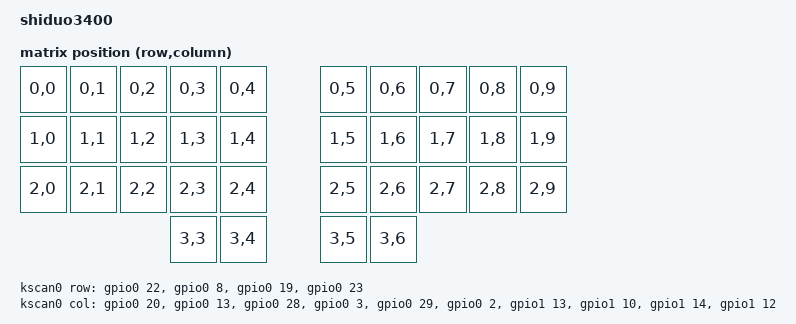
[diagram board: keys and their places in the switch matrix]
/*
 * SPDX-License-Identifier: MIT
 */

/dts-v1/;
#include <nordic/nrf52840_qiaa.dtsi>

#include <dt-bindings/led/led.h>
#include <dt-bindings/zmk/matrix_transform.h>

#include "shiduo3400-layouts.dtsi"

&physical_layout0 {
    kscan = <&kscan0>; // Label of the kscan node this layout uses
    transform = <&default_transform>; // Label of the matrix transform this layout uses
};

/ {
    model = "shiduo3400";
    compatible = "shiduo,3400";

    chosen {
        zephyr,code-partition = &code_partition;
        zephyr,sram = &sram0;
        zephyr,flash = &flash0;
        zmk,battery = &vbatt;
        zmk,kscan = &kscan0;
        zmk,physical-layout = &physical_layout0;
    };

    default_transform: keymap_transform_0 {
        compatible = "zmk,matrix-transform";
        columns = <10>;
        rows = <4>;
        map = <
RC(0,0) RC(0,1) RC(0,2) RC(0,3) RC(0,4) RC(0,5) RC(0,6) RC(0,7) RC(0,8) RC(0,9) 
RC(1,0) RC(1,1) RC(1,2) RC(1,3) RC(1,4) RC(1,5) RC(1,6) RC(1,7) RC(1,8) RC(1,9) 
RC(2,0) RC(2,1) RC(2,2) RC(2,3) RC(2,4) RC(2,5) RC(2,6) RC(2,7) RC(2,8) RC(2,9) 
                        RC(3,3) RC(3,4) RC(3,5) RC(3,6)  
        >;
    };

    kscan0: kscan {
        compatible = "zmk,kscan-gpio-matrix";

        diode-direction = "row2col";
        row-gpios
            = <&gpio0 22 GPIO_ACTIVE_HIGH>
            , <&gpio0 8 GPIO_ACTIVE_HIGH>
            , <&gpio0 19 GPIO_ACTIVE_HIGH>
            , <&gpio0 23 GPIO_ACTIVE_HIGH>
            ;
        col-gpios
            = <&gpio0 20 (GPIO_ACTIVE_HIGH | GPIO_PULL_DOWN)>
            , <&gpio0 13 (GPIO_ACTIVE_HIGH | GPIO_PULL_DOWN)>
            , <&gpio0 28 (GPIO_ACTIVE_HIGH | GPIO_PULL_DOWN)>
            , <&gpio0 3 (GPIO_ACTIVE_HIGH | GPIO_PULL_DOWN)>
            , <&gpio0 29 (GPIO_ACTIVE_HIGH | GPIO_PULL_DOWN)>
            , <&gpio0 2  (GPIO_ACTIVE_HIGH | GPIO_PULL_DOWN)>
            , <&gpio1 13  (GPIO_ACTIVE_HIGH | GPIO_PULL_DOWN)>
            , <&gpio1 10  (GPIO_ACTIVE_HIGH | GPIO_PULL_DOWN)>
            , <&gpio1 14  (GPIO_ACTIVE_HIGH | GPIO_PULL_DOWN)>
            , <&gpio1 12  (GPIO_ACTIVE_HIGH | GPIO_PULL_DOWN)>
            ;
    };

    leds {
        compatible = "gpio-leds";
        blue_led: led_0 {
            gpios = <&gpio0 15 GPIO_ACTIVE_HIGH>;
        };
    };

    // Node name must match original "EXT_POWER" label to preserve user settings.
    EXT_POWER {
        compatible = "zmk,ext-power-generic";
        control-gpios = <&gpio0 5 GPIO_ACTIVE_LOW>;
    };

    vbatt: vbatt {
        compatible = "zmk,battery-nrf-vddh";
    };
};

&adc {
    status = "okay";
};

&gpiote {
    status = "okay";
};

&gpio0 {
    status = "okay";
};

&gpio1 {
    status = "okay";
};

zephyr_udc0: &usbd {
    status = "okay";
};

&flash0 {
    /*
     * For more information, see:
     * http://docs.zephyrproject.org/latest/devices/dts/flash_partitions.html
     */
    partitions {
        compatible = "fixed-partitions";
        #address-cells = <1>;
        #size-cells = <1>;

        sd_partition: partition@0 {
            reg = <0x00000000 0x00001000>;
        };

        code_partition: partition@1000 {
            reg = <0x00001000 0x000d3000>;
        };

        /*
         * The flash starting at 0x000d4000 and ending at
         * 0x000f3fff is reserved for use by the application.
         */

        /*
         * Storage partition will be used by FCB/LittleFS/NVS
         * if enabled.
         */
        storage_partition: partition@d4000 {
            reg = <0x000d4000 0x00020000>;
        };

        boot_partition: partition@f4000 {
            reg = <0x000f4000 0x0000c000>;
        };
    };
};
